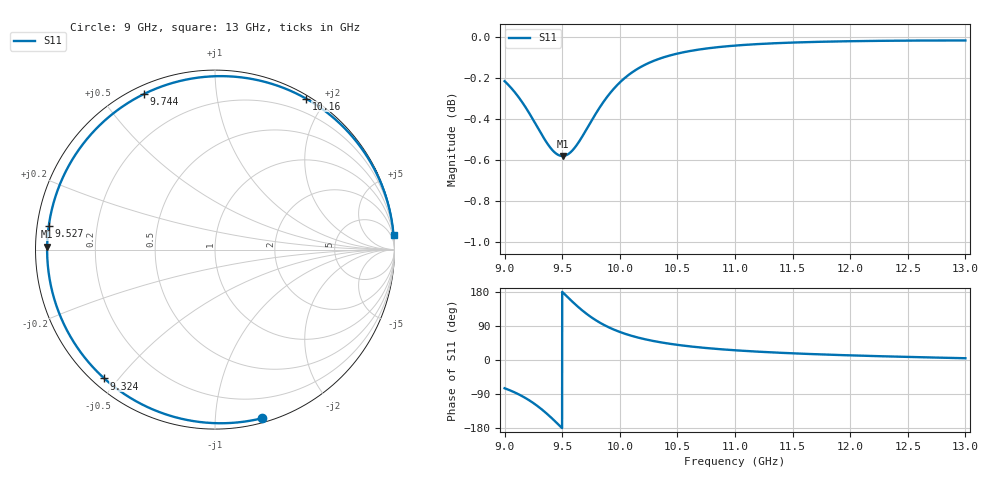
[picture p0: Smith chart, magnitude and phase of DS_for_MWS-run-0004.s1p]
! TOUCHSTONE file generated by CST DESIGN STUDIO
! Date and time: Tue Feb  4 15:46:06 2025
! Project name: C:\Work\MatlabApps\UnitCellOptimizationMatlab\CST\unitcell.cst
! Tree item: Tasks\Sweep1\SPara1\S-Parameters
! Header version: 2024
! Port assignment regex: !\s*Touchstone port\s*([0-9]+)\s*=\s*(CST MWS port|CST DES external port|CST DES block port)\s*(.+)\s* \(\"(.*)\"\)(\s*mode\s*([0-9]+))?.*
! Touchstone port assignment:
! Touchstone port 1 = CST DES external port 1 ("")
# GHz S MA R 50
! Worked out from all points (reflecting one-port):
!   4001 points, 9 GHz to 13 GHz, reference 50 ohm
!   lowest |S11| = -0.6 dB at 9.503 GHz (marker M1), VSWR 29.95, Z = 1.67 + j0.436 ohm
!   phase of S11 starts at -75 deg and turns -281 deg over the sweep
!   S11 on the Smith chart (normalised r, x): 9 GHz: 0.03, -1.31; 9.324 GHz: 0.03, -0.46; 9.527 GHz: 0.03, +0.07; 9.744 GHz: 0.03, +0.64; 10.16 GHz: 0.04, +1.77; 13 GHz: 1, +25
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9  0.9754 -74.5
9.085  0.9696 -85.2
9.187  0.9608 -101.4
9.258  0.9535 -115.4
9.324  0.9465 -130.7
9.371  0.9419 -142.8
9.42  0.9381 -156.5
9.461  0.9361 -168.5
9.5  0.9354 179.9
9.503  0.9354 179.0
9.527  0.9356 171.8
9.58  0.9378 156.3
9.64  0.9424 139.6
9.691  0.9474 126.7
9.744  0.9529 114.6
9.796  0.9583 104.2
9.854  0.9638 93.9
9.926  0.9697 83.2
10  0.9747 74.0
10.161  0.9824 59.0
10.315  0.9871 48.8
10.5  0.9906 40.0
10.722  0.9931 32.4
11  0.995 25.7
11.5  0.9967 17.6
12  0.9975 12.2
12.5  0.9978 8.1
13  0.9979 4.7
